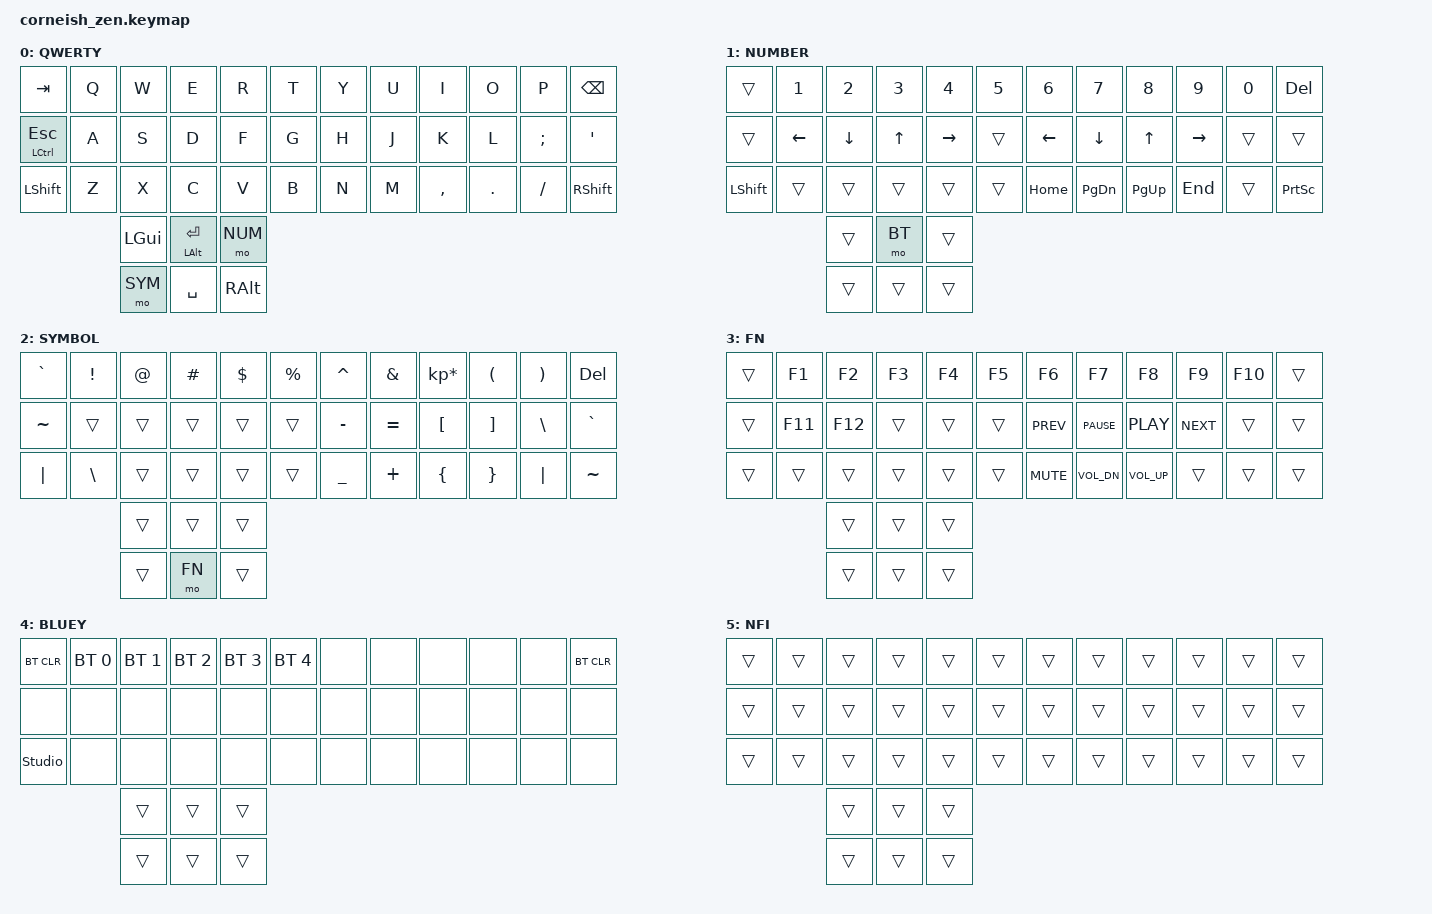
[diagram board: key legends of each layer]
#include <behaviors.dtsi>
#include <dt-bindings/zmk/keys.h>
#include <dt-bindings/zmk/bt.h>

#define QWERTY  0
#define NUM     1
#define SYM     2
#define FN      3
#define BT      4

//nyan// &left_encoder {
//nyan//     status = "disabled";
//nyan// };

//nyan// &right_encoder {
//nyan//     status = "disabled";
//nyan// };

/ {
  chosen {
        zmk,physical-layout = &foostan_corne_6col_layout;
    //zmk,matrix_transform = &default_transform;
    //zmk,matrix_transform = &five_column_transform;
  };
};

/ {
        keymap {
                compatible = "zmk,keymap";

                default_layer {
                        display-name = "QWERTY";
// -----------------------------------------------------------------------------------------
// |  TAB |  Q  |  W  |  E  |  R  |  T  |   |  Y  |  U   |  I  |  O  |  P  | BKSP |
// | CTRL |  A  |  S  |  D  |  F  |  G  |   |  H  |  J   |  K  |  L  |  ;  |  '   |
// | SHFT |  Z  |  X  |  C  |  V  |  B  |   |  N  |  M   |  ,  |  .  |  /  | SHFT |
//                    | GUI | ENT | NUM |   | SYM | SPC  | ALT |
//                                  | BT | | FN | <nyan only

                        bindings = <
   &kp TAB   &kp Q &kp W &kp E &kp R &kp T   &kp Y &kp U  &kp I     &kp O   &kp P    &kp BSPC
   &mt LCTRL ESC &kp A &kp S &kp D &kp F &kp G   &kp H &kp J  &kp K     &kp L   &kp SEMI &kp SQT
   &kp LSHFT &kp Z &kp X &kp C &kp V &kp B   &kp N &kp M  &kp COMMA &kp DOT &kp FSLH &kp RSHFT
                  &kp LGUI &mt LALT RET &mo NUM  
                  //nyan// &mo BT &mo FN
                  &mo SYM  &kp SPACE    &kp RALT
                        >;
                };
                lower_layer {
                        display-name = "NUMBER";
// -----------------------------------------------------------------------------------------
// |      |  1  |  2  |  3  |  4  |  5  |   |  6  |  7  |  8  |  9  |  0  | DEL  |
// |      | LFT | DWN |  UP | RGT |     |   | LFT | DWN |  UP | RGT |     |      |
// | SHFT |     |     |     |     |     |   | HOME| PGD | PGU | END |     | PRTS |
//                    | GUI | BT  | NUM |   | SYM | SPC | ALT |
//                                  | BT | | FN | <nyan only


                        bindings = <
   &trans     &kp N1       &kp N2       &kp N3     &kp N4       &kp N5      &kp N6   &kp N7    &kp N8    &kp N9    &kp N0 &kp DEL
   &trans     &kp LEFT     &kp DOWN     &kp UP     &kp RIGHT    &trans      &kp LEFT &kp DOWN  &kp UP    &kp RIGHT &trans &trans
   &kp LSHFT  &trans       &trans       &trans     &trans       &trans      &kp HOME &kp PG_DN &kp PG_UP &kp END   &trans &kp PSCRN
                      &trans &mo BT &trans 
                      //nyan// &trans &trans
                      &trans &trans &trans
                        >;
                };

                raise_layer {
                        display-name = "SYMBOL";
// -----------------------------------------------------------------------------------------
// | GRVE |  !  |  @  |  #  |  $  |  %  |   |  ^  |  &  |  *  |  (  |  )  | DEL  |
// | TILD |     |     |     |     |     |   |  -  |  =  |  [  |  ]  |  \  |  `   |
// | PIPE | BSLH|     |     |     |     |   |  _  |  +  |  {  |  }  | "|" |  ~   |
//                    | GUI | ENT | NUM |   | SYM | FN  | ALT |
//                                  | BT | | FN | <nyan only

                        bindings = <
   &kp GRAVE &kp EXCL &kp AT &kp HASH &kp DLLR &kp PRCNT   &kp CARET &kp AMPS  &kp KP_MULTIPLY &kp LPAR &kp RPAR &kp DEL
   &kp TILDE &trans   &trans &trans   &trans   &trans      &kp MINUS &kp EQUAL &kp LBKT        &kp RBKT &kp BSLH &kp GRAVE
   &kp PIPE  &kp BSLH &trans &trans   &trans   &trans      &kp UNDER &kp PLUS  &kp LBRC        &kp RBRC &kp PIPE &kp TILDE
                      &trans &trans &trans 
                      //nyan// &trans &trans
                      &trans &mo FN &trans
                        >;
                };

                fn_layer {
                        display-name = "FN";
// -----------------------------------------------------------------------------------------
// |   | F1  | F2  | F3  | F4  | F5  |   | F6  | F7  | F8  | F9  | F10 |    |
// |   | F11 | F12 |     |     |     |   |     |     |     |     |     |    |
// |   |     |     |     |     |     |   |     |     |     |     |     |    |
//                 | GUI | ENT | NUM |   | SYM | FN  | ALT |
//                                  | BT | | FN | <nyan only

                        bindings = <
   &trans     &kp F1     &kp F2     &kp F3     &kp F4   &kp F5     &kp F6     &kp F7       &kp F8       &kp F9     &kp F10  &trans
   &trans     &kp F11    &kp F12    &trans     &trans   &trans     &kp C_PREV &kp C_PAUSE  &kp C_PLAY   &kp C_NEXT &trans   &trans
   &trans     &trans     &trans     &trans     &trans   &trans     &kp C_MUTE &kp C_VOL_DN &kp C_VOL_UP &trans     &trans   &trans
                      &trans &trans &trans 
                      //nyan// &trans &trans
                      &trans &trans &trans
                        >;
                };
                
                bt_layer {
                        display-name = "BLUEY";
// -----------------------------------------------------------------------------------------
// |BT CLR| BT1 | BT2 | BT3 | BT4 | BT5 |   |     |     |     |     |     |BT CLR|
// |      |     |     |     |     |     |   |     |     |     |     |     |      |
// |STUDIO|     |     |     |     |     |   |     |     |     |     |     |      |
//                                  | BT | | FN | <nyan only

                        bindings = <
   &bt BT_CLR &bt BT_SEL 0 &bt BT_SEL 1 &bt BT_SEL 2 &bt BT_SEL 3 &bt BT_SEL 4   &none  &none  &none  &none  &none  &bt BT_CLR
   &none      &none        &none        &none        &none        &none          &none  &none  &none  &none  &none  &none 
   &studio_unlock &none        &none        &none        &none        &none          &none  &none  &none  &none  &none  &none 
                      &trans &trans &trans 
                      //nyan// &trans &trans
                      &trans &trans &trans
                        >;
                };


                empty_layer {
                        display-name = "NFI";
// -----------------------------------------------------------------------------------------
// |   |     |     |     |     |     |   |     |     |     |     |     |    |
// |   |     |     |     |     |     |   |     |     |     |     |     |    |
// |   |     |     |     |     |     |   |     |     |     |     |     |    |
//                 | GUI | ENT | NUM |   | SYM | FN  | ALT |
//                                  | BT | | FN | <nyan only

                        bindings = <
   &trans     &trans     &trans     &trans     &trans   &trans     &trans     &trans     &trans     &trans   &trans   &trans
   &trans     &trans     &trans     &trans     &trans   &trans     &trans     &trans     &trans     &trans   &trans   &trans
   &trans     &trans     &trans     &trans     &trans   &trans     &trans     &trans     &trans     &trans   &trans   &trans 
                      &trans &trans &trans 
                      //nyan// &trans &trans
                      &trans &trans &trans
                        >;
                };
        };
};
